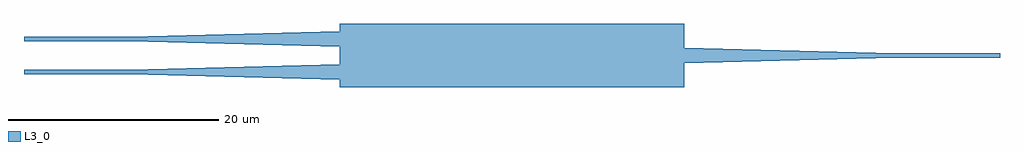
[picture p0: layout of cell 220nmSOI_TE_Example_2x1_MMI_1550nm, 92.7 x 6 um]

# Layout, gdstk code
import gdstk
lib = gdstk.Library(unit=1e-6, precision=1e-09)
def R(c, l, rs):  # rectangles x0, y0, x1, y1
    for r in rs: c.add(gdstk.rectangle(r[:2], r[2:], *l))
def P(c, l, *ps):  # polygons
    for p in ps: c.add(gdstk.Polygon(p, *l))
L3_0 = (3, 0)

c_220nmsoi_te_example_2x1_ = lib.new_cell('220nmSOI_TE_Example_2x1_MMI_1550nm')
R(c_220nmsoi_te_example_2x1_, L3_0, [(-16,-3,16.7,3), (-46,-1.795,-36,-1.345), (36.7,-0.225,46.7,0.225), (-46,1.345,-36,1.795)])
P(c_220nmsoi_te_example_2x1_, L3_0, [(16.7,-0.75),(16.7,0.75),(36.7,0.225),(36.7,-0.225)],
  [(-16,-2.32),(-36,-1.795),(-36,-1.345),(-16,-0.82)],
  [(-16,0.82),(-36,1.345),(-36,1.795),(-16,2.32)])

lib.write_gds('220nmSOI_TE_Example_2x1_MMI_1550nm.gds')
